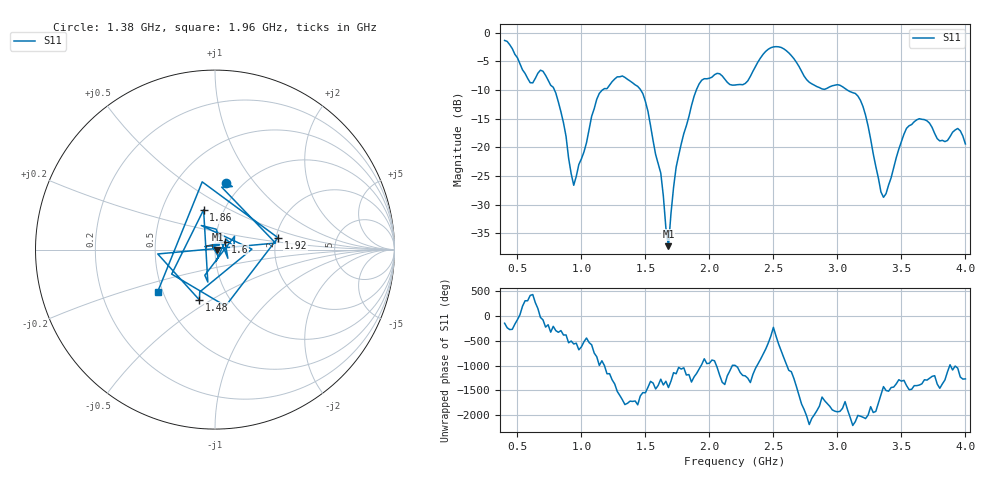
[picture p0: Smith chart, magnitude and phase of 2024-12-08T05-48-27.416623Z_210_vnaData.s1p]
!Created with skrf (http://scikit-rf.org).
# Hz S RI R 50.0
!freq ReS11 ImS11
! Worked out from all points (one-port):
!   181 points, 400 MHz to 4 GHz, reference 50 ohm
!   lowest |S11| = -37.3 dB at 1.68 GHz (marker M1), VSWR 1.03, Z = 51.4 - j0.121 ohm
!   |S11| at or under -10 dB: 789.1 MHz to 1.166 GHz (376.7 MHz wide, 38.5 % of centre); 1.463 GHz to 1.898 GHz (435.7 MHz wide, 25.9 % of centre); 3.075 GHz to end of sweep
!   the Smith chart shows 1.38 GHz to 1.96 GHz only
!   S11 on the Smith chart (normalised r, x): 1.38 GHz: 0.84, +0.73; 1.48 GHz: 0.73, -0.44; 1.6 GHz: 1.11, +0.10; 1.86 GHz: 0.80, +0.38; 1.92 GHz: 2.05, +0.31; 1.96 GHz: 0.47, -0.26
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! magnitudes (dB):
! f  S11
! 400 MHz  -1.4
! 600 MHz  -8.8
! 700 MHz  -6.8
! 860 MHz  -15.7
! 940 MHz  -26.6
! 1.12 GHz  -11.6
! 1.3 GHz  -7.7
! 1.38 GHz  -8.4
! 1.48 GHz  -10.6
! 1.6 GHz  -22.9
! 1.68 GHz  -37.3
! 1.72 GHz  -27.0
! 1.76 GHz  -21.4
! 1.86 GHz  -12.7
! 1.92 GHz  -8.9
! 1.96 GHz  -8.1
! 2.2 GHz  -9.2
! 2.48 GHz  -2.7
! 2.66 GHz  -4.6
! 2.8 GHz  -8.9
! 3.1 GHz  -10.3
! 3.2 GHz  -12.9
! 3.36 GHz  -28.7
! 3.56 GHz  -16.3
! 3.68 GHz  -15.2
! 3.84 GHz  -19.0
! 3.94 GHz  -16.7
! 4 GHz  -19.4
